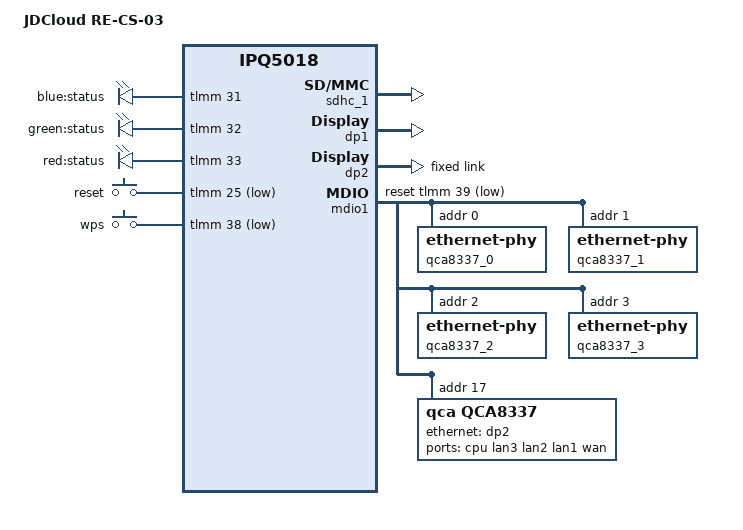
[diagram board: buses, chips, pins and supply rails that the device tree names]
// SPDX-License-Identifier: GPL-2.0-or-later OR MIT

/dts-v1/;

#include "ipq5018.dtsi"
#include "ipq5018-ess.dtsi"
#include "ipq5018-nss.dtsi"
#include "ipq5018-common.dtsi"

#include <dt-bindings/gpio/gpio.h>
#include <dt-bindings/input/input.h>
#include <dt-bindings/leds/common.h>

/ {
	model = "JDCloud RE-CS-03";
	compatible = "jdcloud,re-cs-03", "qcom,ipq5018";

	aliases {
		sdhc1 = &sdhc_1;
		serial0 = &blsp1_uart1;
		serial1 = &blsp1_uart2;

		ethernet0 = &dp1;
		ethernet1 = &dp2;
		label-mac-device = &dp2;

		led-boot = &led_status_blue;
		led-failsafe = &led_status_red;
		led-running = &led_status_green;
		led-upgrade = &led_status_red;
	};

	chosen {
		stdout-path = "serial0:115200n8";
	};

	leds {
		compatible = "gpio-leds";

		led_status_blue: status-blue {
			label = "blue:status";
			gpios = <&tlmm 31 GPIO_ACTIVE_HIGH>;
		};

		led_status_green: status-green {
			label = "green:status";
			gpios = <&tlmm 32 GPIO_ACTIVE_HIGH>;
		};

		led_status_red: status-red {
			label = "red:status";
			gpios = <&tlmm 33 GPIO_ACTIVE_HIGH>;
		};
	};

	keys {
		compatible = "gpio-keys";

		reset {
			label = "reset";
			linux,code = <KEY_RESTART>;
			gpios = <&tlmm 25 GPIO_ACTIVE_LOW>;
			linux,input-type = <1>;
			debounce-interval = <60>;
		};

		wps {
			label = "wps";
			linux,code = <KEY_WPS_BUTTON>;
			gpios = <&tlmm 38 GPIO_ACTIVE_LOW>;
			linux,input-type = <1>;
			debounce-interval = <60>;
		};
	};
};

&sdhc_1 {
	status = "okay";

	pinctrl-0 = <&emmc_pins>;
	pinctrl-names = "default";

	max-frequency = <192000000>;

	/delete-property/ mmc-hs400-1_8v;
	mmc-hs200-1_8v;
	mmc-ddr-1_8v;
};

&dp1 {
	status = "okay";
};

&dp2 {
	status = "okay";

	fixed-link {
		speed = <1000>;
		full-duplex;
	};
};

&mdio1 {
	status = "okay";

	pinctrl-0 = <&mdio1_pins>;
	pinctrl-names = "default";
	reset-gpios = <&tlmm 39 GPIO_ACTIVE_LOW>;

	qca8337_0: ethernet-phy@0 {
		reg = <0>;
	};

	qca8337_1: ethernet-phy@1 {
		reg = <1>;
	};

	qca8337_2: ethernet-phy@2 {
		reg = <2>;
	};

	qca8337_3: ethernet-phy@3 {
		reg = <3>;
	};

	qca8337: ethernet-switch@17 {
		compatible = "qca,qca8337";
		#address-cells = <1>;
		#size-cells = <0>;
		reg = <17>;

		ports {
			#address-cells = <1>;
			#size-cells = <0>;

			port@0 {
				reg = <0>;
				label = "cpu";
				phy-mode = "sgmii";
				ethernet = <&dp2>;
				qca,sgmii-enable-pll;

				fixed-link {
					speed = <1000>;
					full-duplex;
				};
			};

			port@1 {
				reg = <1>;
				label = "lan3";
				phy-handle = <&qca8337_0>;
			};

			port@2 {
				reg = <2>;
				label = "lan2";
				phy-handle = <&qca8337_1>;
			};

			port@3 {
				reg = <3>;
				label = "lan1";
				phy-handle = <&qca8337_2>;
			};

			port@4 {
				reg = <4>;
				label = "wan";
				phy-handle = <&qca8337_3>;
			};
		};
	};
};

&q6v5_wcss {
	boot-args = <0x02 0x04 0x02 0x0f 0x00 0x00>;
};

&wifi0 {
	status = "okey";
	qcom,ath11k-calibration-variant = "JDC-RE-CS-03";
};

&wifi1 {
	status = "okey";
	qcom,ath11k-calibration-variant = "JDC-RE-CS-03";
};
